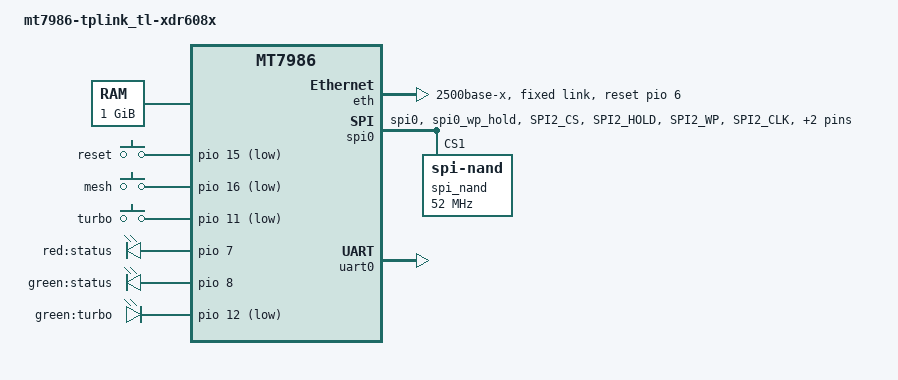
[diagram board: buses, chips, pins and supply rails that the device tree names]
// SPDX-License-Identifier: GPL-2.0

/dts-v1/;
#include "mt7986.dtsi"
#include <dt-bindings/gpio/gpio.h>

/ {
	#address-cells = <1>;
	#size-cells = <1>;
	model = "mt7986-tplink_tl-xdr608x";
	compatible = "mediatek,mt7986", "mediatek,mt7986-rfb";

	chosen {
		stdout-path = &uart0;
		tick-timer = &timer0;
	};

	config {
		bootcmd = "mtkboardboot";
		blink_led = "green:status";
		system_led = "red:status";
	};

	memory@40000000 {
		device_type = "memory";
		reg = <0x40000000 0x40000000>;
	};

	gpio-keys {
		compatible = "gpio-keys";

		button-reset {
			label = "reset";
			linux,code = <KEY_RESTART>;
			gpios = <&pio 15 GPIO_ACTIVE_LOW>;
		};

		button-mesh {
			label = "mesh";
			linux,code = <BTN_9>;
			gpios = <&pio 16 GPIO_ACTIVE_LOW>;
		};

		button-turbo {
			label = "turbo";
			linux,code = <BTN_1>;
			gpios = <&pio 11 GPIO_ACTIVE_LOW>;
		};
	};

	gpio-leds {
		compatible = "gpio-leds";

		led_status_red: led-0 {
			label = "red:status";
			gpios = <&pio 7 GPIO_ACTIVE_HIGH>;
		};

		led_status_green: led-1 {
			label = "green:status";
			gpios = <&pio 8 GPIO_ACTIVE_HIGH>;
		};

		led-2 {
			label = "green:turbo";
			gpios = <&pio 12 GPIO_ACTIVE_LOW>;
		};
	};

	bl2_verify {
		bl2_compatible = "spim-nand";
	};
};

&eth {
	status = "okay";
	mediatek,gmac-id = <0>;
	phy-mode = "2500base-x";
	mediatek,switch = "auto";
	reset-gpios = <&pio 6 GPIO_ACTIVE_HIGH>;

	fixed-link {
		speed = <2500>;
		full-duplex;
	};
};

&pio {
	spi_flash_pins: spi0-pins-func-1 {
		mux {
			function = "flash";
			groups = "spi0", "spi0_wp_hold";
		};

		conf-pu {
			pins = "SPI2_CS", "SPI2_HOLD", "SPI2_WP";
			drive-strength = <MTK_DRIVE_4mA>;
			bias-pull-up = <MTK_PUPD_SET_R1R0_00>;
		};

		conf-pd {
			pins = "SPI2_CLK", "SPI2_MOSI", "SPI2_MISO";
			drive-strength = <MTK_DRIVE_4mA>;
			bias-pull-down = <MTK_PUPD_SET_R1R0_00>;
		};
	};
};

&spi0 {
	#address-cells = <1>;
	#size-cells = <0>;
	pinctrl-names = "default";
	pinctrl-0 = <&spi_flash_pins>;
	status = "okay";
	must_tx;
	enhance_timing;
	dma_ext;
	ipm_design;
	support_quad;
	tick_dly = <2>;
	sample_sel = <0>;

	spi_nand@0 {
		compatible = "spi-nand";
		reg = <1>;
		spi-max-frequency = <52000000>;
	};
};

&uart0 {
	status = "okay";
};

&watchdog {
	status = "disabled";
};
